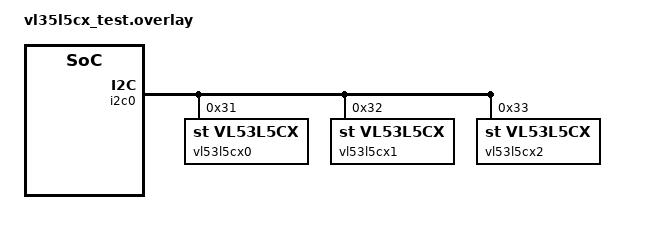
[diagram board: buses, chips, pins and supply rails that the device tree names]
/*
 * SPDX-License-Identifier: Apache-2.0
 *
 * VL53L5CX ranging devices. Shared I2C wiring and bitrate come from the ESP
 * target contract.
 *
 * One node per slot of vl35l5cx_test's array that can hold a VL53L5CX: slots
 * 0-2, the side headers on ADS7128 GPIO1-3. Slot 3 (GPIO6, 0x34) is the down
 * VL53L1X, which the VL53L5CX driver cannot range, so it has no node and the
 * workload skips it. Keep in step with
 * hardware/zephyr/targets/fpga/workloads/vl35l5cx_test.overlay.
 */

&i2c0 {
	/* Final unique addresses after reprogramming (see sample logic). */
	vl53l5cx0: vl53l5cx@31 {
		compatible = "st,vl53l5cx";
		reg = <0x31>;
		status = "okay";
	};

	vl53l5cx1: vl53l5cx@32 {
		compatible = "st,vl53l5cx";
		reg = <0x32>;
		status = "okay";
	};

	vl53l5cx2: vl53l5cx@33 {
		compatible = "st,vl53l5cx";
		reg = <0x33>;
		status = "okay";
	};
};

/ {
	/* Define aliases for easier access in code */
	aliases {
		tof0 = &vl53l5cx0;
		tof1 = &vl53l5cx1;
		tof2 = &vl53l5cx2;
	};
};
